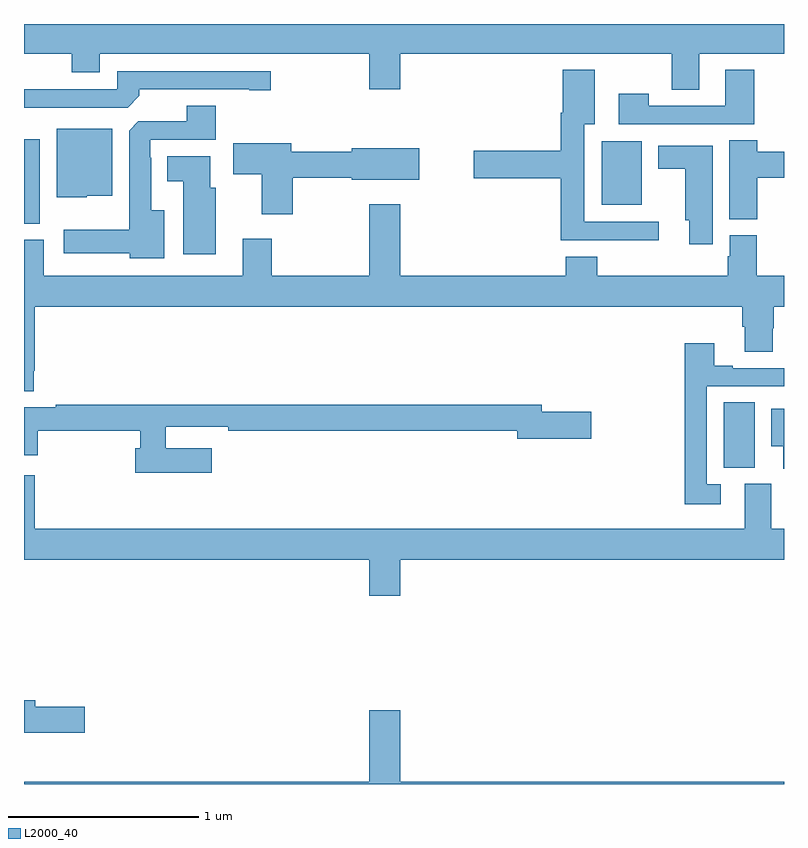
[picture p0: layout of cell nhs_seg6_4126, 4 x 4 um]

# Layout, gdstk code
import gdstk
lib = gdstk.Library(unit=1e-6, precision=1e-09)
def R(c, l, rs):  # rectangles x0, y0, x1, y1
    for r in rs: c.add(gdstk.rectangle(r[:2], r[2:], *l))
def P(c, l, *ps):  # polygons
    for p in ps: c.add(gdstk.Polygon(p, *l))
L2000_40 = (2000, 40)

nhs_seg6_4126 = lib.new_cell('nhs_seg6_4126')
R(nhs_seg6_4126, L2000_40, [(358.682,937.165,358.846,937.508), (355,938.449,355.084,938.893), (358.04,938.549,358.252,938.884)])
P(nhs_seg6_4126, L2000_40, [(358.555,939.344),(359,939.344),(359,939.5),(355,939.5),(355,939.344),(355.252,939.344),(355.252,939.245),(355.399,939.245),(355.399,939.344),(356.816,939.344),(356.816,939.156),(356.98,939.156),(356.98,939.344),(358.408,939.344),(358.408,939.154),(358.555,939.154)],
  [(358.844,939.259),(358.691,939.259),(358.691,939.069),(358.287,939.069),(358.287,939.133),(358.131,939.133),(358.131,938.973),(358.844,938.973)],
  [(358.342,938.46),(357.949,938.46),(357.949,938.972),(358.003,938.972),(358.003,939.259),(357.836,939.259),(357.836,939.032),(357.824,939.032),(357.824,938.834),(357.366,938.834),(357.366,938.687),(357.824,938.687),(357.824,938.363),(358.342,938.363)],
  [(355.607,939.122),(355.607,939.156),(356.186,939.156),(356.186,939.151),(356.299,939.151),(356.299,939.252),(355.491,939.252),(355.491,939.156),(355,939.156),(355,939.06),(355.545,939.06)],
  [(355.738,938.521),(355.669,938.521),(355.669,938.795),(355.665,938.795),(355.665,938.892),(356.009,938.892),(356.009,939.071),(355.856,939.071),(355.856,938.988),(355.602,938.988),(355.553,938.939),(355.553,938.416),(355.209,938.416),(355.209,938.294),(355.557,938.294),(355.557,938.267),(355.738,938.267)],
  [(355.329,938.597),(355.465,938.597),(355.465,938.95),(355.172,938.95),(355.172,938.588),(355.329,938.588)],
  [(358.859,938.692),(359,938.692),(359,938.828),(358.859,938.828),(358.859,938.888),(358.712,938.888),(358.712,938.473),(358.859,938.473)],
  [(356.415,938.692),(356.726,938.692),(356.726,938.681),(357.079,938.681),(357.079,938.847),(356.726,938.847),(356.726,938.828),(356.407,938.828),(356.407,938.872),(356.1,938.872),(356.1,938.71),(356.252,938.71),(356.252,938.499),(356.415,938.499)],
  [(358.624,938.86),(358.337,938.86),(358.337,938.738),(358.481,938.738),(358.481,938.466),(358.502,938.466),(358.502,938.34),(358.624,938.34)],
  [(356.008,938.637),(355.981,938.637),(355.981,938.803),(355.754,938.803),(355.754,938.672),(355.838,938.672),(355.838,938.289),(356.008,938.289)],
  [(355.05,937.675),(355.057,937.675),(355.057,938.012),(358.781,938.012),(358.781,937.906),(358.793,937.906),(358.793,937.774),(358.941,937.774),(358.941,937.899),(358.946,937.899),(358.946,938.012),(359,938.012),(359,938.176),(358.856,938.176),(358.856,938.388),(358.715,938.388),(358.715,938.277),(358.703,938.277),(358.703,938.176),(358.016,938.176),(358.016,938.275),(357.851,938.275),(357.851,938.176),(356.98,938.176),(356.98,938.551),(356.816,938.551),(356.816,938.176),(356.303,938.176),(356.303,938.371),(356.15,938.371),(356.15,938.176),(355.105,938.176),(355.105,938.364),(355,938.364),(355,937.568),(355.05,937.568)],
  [(358.666,937.077),(358.593,937.077),(358.593,937.593),(359,937.593),(359,937.689),(358.729,937.689),(358.729,937.702),(358.633,937.702),(358.633,937.819),(358.477,937.819),(358.477,936.972),(358.666,936.972)],
  [(355.987,937.267),(355.745,937.267),(355.745,937.38),(356.074,937.38),(356.074,937.36),(357.596,937.36),(357.596,937.318),(357.985,937.318),(357.985,937.46),(357.724,937.46),(357.724,937.496),(355.168,937.496),(355.168,937.483),(355,937.483),(355,937.229),(355.072,937.229),(355.072,937.36),(355.613,937.36),(355.613,937.267),(355.586,937.267),(355.586,937.138),(355.987,937.138)],
  [(359,937.474),(358.934,937.474),(358.934,937.277),(358.997,937.277),(358.997,937.158),(359,937.158)],
  [(355,937.126),(355,936.68),(356.816,936.68),(356.816,936.492),(356.98,936.492),(356.98,936.68),(359,936.68),(359,936.844),(358.933,936.844),(358.933,937.08),(358.793,937.08),(358.793,936.844),(355.057,936.844),(355.057,937.126)],
  [(355.321,935.906),(355.06,935.906),(355.06,935.942),(355,935.942),(355,935.771),(355.321,935.771)],
  [(359,935.512),(356.98,935.512),(356.98,935.887),(356.816,935.887),(356.816,935.512),(355,935.512),(355,935.5),(359,935.5)])

lib.write_gds('nhs_seg6_4126.gds')
